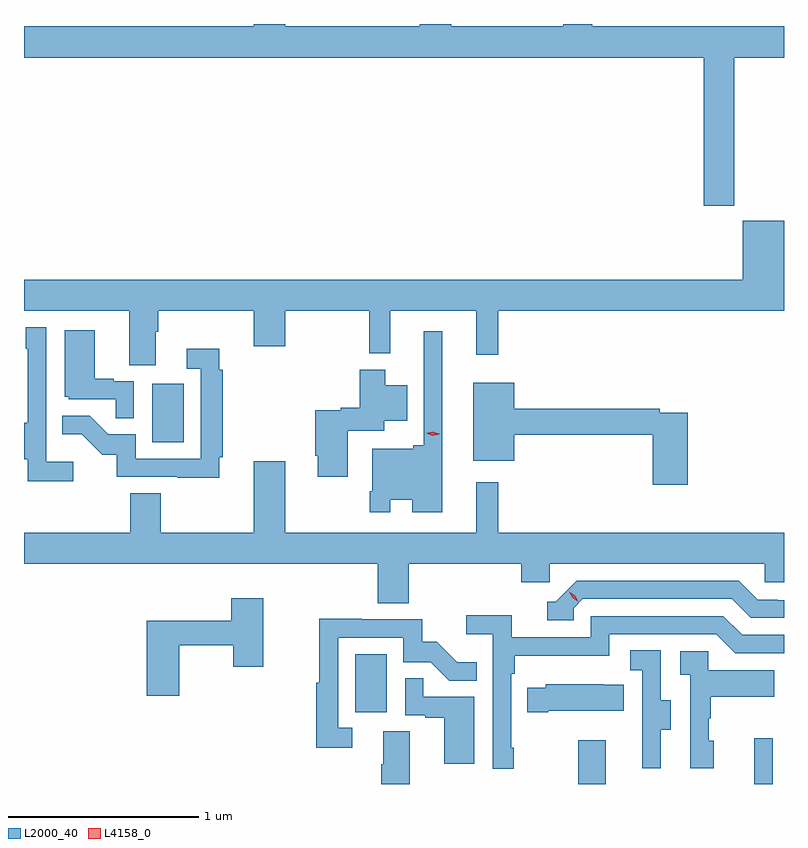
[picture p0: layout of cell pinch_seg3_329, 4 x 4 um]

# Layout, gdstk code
import gdstk
lib = gdstk.Library(unit=1e-6, precision=1e-09)
def R(c, l, rs):  # rectangles x0, y0, x1, y1
    for r in rs: c.add(gdstk.rectangle(r[:2], r[2:], *l))
def P(c, l, *ps):  # polygons
    for p in ps: c.add(gdstk.Polygon(p, *l))
L2000_40 = (2000, 40)
L4158_0 = (4158, 0)

pinch_seg3_329 = lib.new_cell('pinch_seg3_329')
R(pinch_seg3_329, L2000_40, [(957.922,721.069,958.069,721.3), (958.85,721.069,958.947,721.309), (956.75,721.446,956.914,721.753), (955.682,722.868,955.846,723.175)])
P(pinch_seg3_329, L2000_40, [(958.743,724.892),(959.006,724.892),(959.006,725.056),(957.996,725.056),(957.996,725.069),(957.845,725.069),(957.845,725.056),(957.254,725.056),(957.254,725.069),(957.089,725.069),(957.089,725.056),(956.38,725.056),(956.38,725.069),(956.216,725.069),(956.216,725.056),(955.006,725.056),(955.006,724.892),(958.583,724.892),(958.583,724.113),(958.743,724.113)],
  [(955.699,723.448),(955.712,723.448),(955.712,723.56),(956.216,723.56),(956.216,723.372),(956.38,723.372),(956.38,723.56),(956.823,723.56),(956.823,723.335),(956.933,723.335),(956.933,723.56),(957.386,723.56),(957.386,723.327),(957.503,723.327),(957.503,723.56),(959.006,723.56),(959.006,724.033),(958.79,724.033),(958.79,723.724),(955.006,723.724),(955.006,723.56),(955.559,723.56),(955.559,723.274),(955.699,723.274)],
  [(955.264,722.764),(955.122,722.764),(955.122,723.472),(955.014,723.472),(955.014,723.359),(955.026,723.359),(955.026,722.971),(955.006,722.971),(955.006,722.778),(955.025,722.778),(955.025,722.662),(955.264,722.662)],
  [(955.584,723.189),(955.478,723.189),(955.478,723.202),(955.378,723.202),(955.378,723.457),(955.22,723.457),(955.22,723.108),(955.242,723.108),(955.242,723.093),(955.489,723.093),(955.489,722.995),(955.584,722.995)],
  [(956.934,722.564),(957.05,722.564),(957.05,722.499),(957.208,722.499),(957.208,723.451),(957.111,723.451),(957.111,722.851),(957.054,722.851),(957.054,722.833),(956.838,722.833),(956.838,722.611),(956.826,722.611),(956.826,722.499),(956.934,722.499)],
  [(956.033,722.788),(956.051,722.788),(956.051,723.248),(956.033,723.248),(956.033,723.361),(955.863,723.361),(955.863,723.255),(955.935,723.255),(955.935,722.781),(955.593,722.781),(955.593,722.91),(955.449,722.91),(955.351,723.008),(955.207,723.008),(955.207,722.909),(955.311,722.909),(955.418,722.802),(955.495,722.802),(955.495,722.685),(955.813,722.685),(955.813,722.68),(956.033,722.68)],
  [(956.71,722.927),(956.902,722.927),(956.902,722.981),(957.022,722.981),(957.022,723.169),(956.908,723.169),(956.908,723.25),(956.774,723.25),(956.774,723.05),(956.673,723.05),(956.673,723.037),(956.54,723.037),(956.54,722.797),(956.552,722.797),(956.552,722.685),(956.71,722.685)],
  [(958.499,723.024),(958.352,723.024),(958.352,723.044),(957.586,723.044),(957.586,723.181),(957.371,723.181),(957.371,722.771),(957.586,722.771),(957.586,722.908),(958.316,722.908),(958.316,722.643),(958.499,722.643)],
  [(955.565,722.6),(955.565,722.392),(955.006,722.392),(955.006,722.228),(956.867,722.228),(956.867,722.02),(957.032,722.02),(957.032,722.228),(957.623,722.228),(957.623,722.13),(957.774,722.13),(957.774,722.228),(958.905,722.228),(958.905,722.13),(959.006,722.13),(959.006,722.392),(957.503,722.392),(957.503,722.656),(957.386,722.656),(957.386,722.392),(956.38,722.392),(956.38,722.767),(956.216,722.767),(956.216,722.392),(955.725,722.392),(955.725,722.6)],
  [(957.9,721.995),(957.948,722.043),(958.731,722.043),(958.83,721.944),(959.006,721.944),(959.006,722.037),(958.974,722.037),(958.974,722.04),(958.867,722.04),(958.768,722.139),(957.915,722.139),(957.804,722.028),(957.761,722.028),(957.761,721.932),(957.9,721.932)],
  [(955.822,721.798),(956.108,721.798),(956.108,721.686),(956.266,721.686),(956.266,722.047),(956.096,722.047),(956.096,721.927),(955.652,721.927),(955.652,721.533),(955.822,721.533)],
  [(957.583,721.261),(957.57,721.261),(957.57,721.649),(957.59,721.649),(957.59,721.745),(958.086,721.745),(958.086,721.857),(958.65,721.857),(958.749,721.758),(959.006,721.758),(959.006,721.854),(958.786,721.854),(958.687,721.953),(957.99,721.953),(957.99,721.842),(957.572,721.842),(957.572,721.958),(957.333,721.958),(957.333,721.856),(957.474,721.856),(957.474,721.149),(957.583,721.149)],
  [(956.734,721.365),(956.661,721.365),(956.661,721.839),(957.003,721.839),(957.003,721.71),(957.147,721.71),(957.245,721.612),(957.389,721.612),(957.389,721.711),(957.285,721.711),(957.178,721.818),(957.102,721.818),(957.102,721.935),(956.783,721.935),(956.783,721.94),(956.56,721.94),(956.56,721.602),(956.545,721.602),(956.545,721.26),(956.734,721.26)],
  [(958.357,721.354),(958.411,721.354),(958.411,721.509),(958.356,721.509),(958.356,721.772),(958.197,721.772),(958.197,721.669),(958.26,721.669),(958.26,721.365),(958.259,721.365),(958.259,721.152),(958.357,721.152)],
  [(958.636,721.296),(958.611,721.296),(958.611,721.415),(958.621,721.415),(958.621,721.529),(958.955,721.529),(958.955,721.669),(958.608,721.669),(958.608,721.767),(958.461,721.767),(958.461,721.643),(958.512,721.643),(958.512,721.152),(958.636,721.152)],
  [(957.376,721.527),(957.107,721.527),(957.107,721.625),(957.012,721.625),(957.012,721.431),(957.119,721.431),(957.119,721.419),(957.218,721.419),(957.218,721.176),(957.376,721.176)],
  [(957.766,721.454),(958.163,721.454),(958.163,721.591),(958.055,721.591),(958.055,721.594),(957.753,721.594),(957.753,721.576),(957.655,721.576),(957.655,721.447),(957.766,721.447)],
  [(957.037,721.346),(956.897,721.346),(956.897,721.172),(956.885,721.172),(956.885,721.069),(957.037,721.069)])
P(pinch_seg3_329, L4158_0, [(957.157,722.903),(957.122,722.914),(957.122,722.914),(957.122,722.914),(957.157,722.923),(957.192,722.912),(957.193,722.912),(957.192,722.911)],
  [(957.923,722.028),(957.893,722.048),(957.877,722.081),(957.877,722.081),(957.877,722.081),(957.908,722.061),(957.923,722.028),(957.923,722.028)])

lib.write_gds('pinch_seg3_329.gds')
